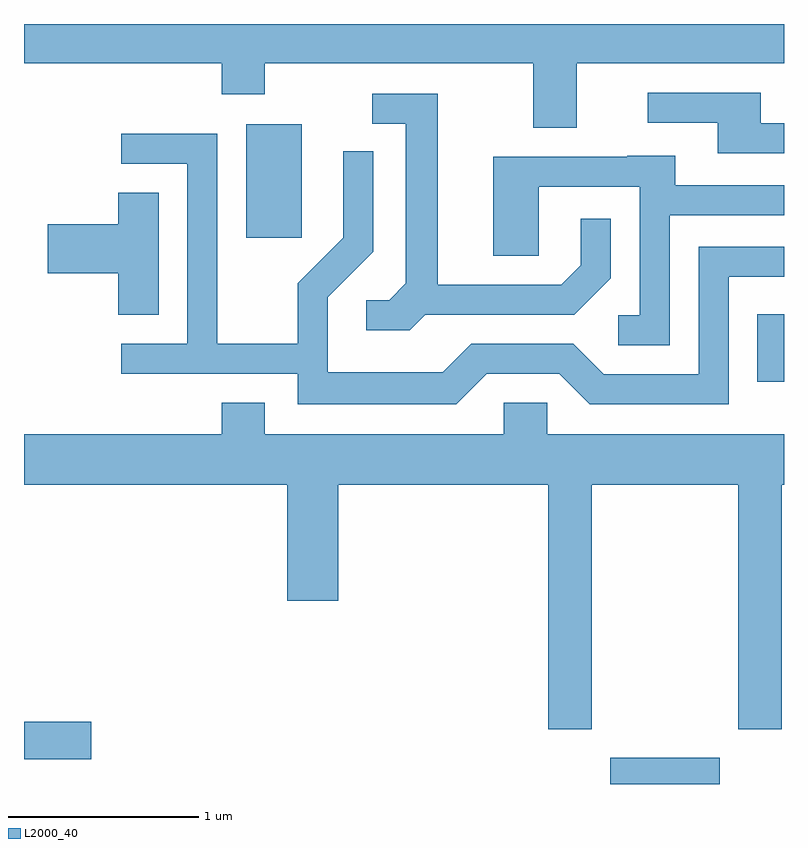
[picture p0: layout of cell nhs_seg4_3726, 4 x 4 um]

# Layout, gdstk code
import gdstk
lib = gdstk.Library(unit=1e-6, precision=1e-09)
def R(c, l, rs):  # rectangles x0, y0, x1, y1
    for r in rs: c.add(gdstk.rectangle(r[:2], r[2:], *l))
def P(c, l, *ps):  # polygons
    for p in ps: c.add(gdstk.Polygon(p, *l))
L2000_40 = (2000, 40)

nhs_seg4_3726 = lib.new_cell('nhs_seg4_3726')
R(nhs_seg4_3726, L2000_40, [(296.696,1361.982,297.274,1362.119), (293.611,1362.111,293.964,1362.309), (297.471,1364.098,297.611,1364.454), (294.781,1364.856,295.074,1365.454)])
P(nhs_seg4_3726, L2000_40, [(293.611,1365.776),(294.651,1365.776),(294.651,1365.611),(294.879,1365.611),(294.879,1365.776),(296.291,1365.776),(296.291,1365.436),(296.519,1365.436),(296.519,1365.776),(297.611,1365.776),(297.611,1365.982),(293.611,1365.982)],
  [(297.611,1365.459),(297.489,1365.459),(297.489,1365.619),(296.893,1365.619),(296.893,1365.461),(297.261,1365.461),(297.261,1365.301),(297.611,1365.301)],
  [(295.722,1364.451),(296.507,1364.451),(296.699,1364.644),(296.699,1364.958),(296.541,1364.958),(296.541,1364.712),(296.439,1364.609),(295.789,1364.609),(295.789,1365.614),(295.443,1365.614),(295.443,1365.456),(295.621,1365.456),(295.621,1364.617),(295.534,1364.529),(295.413,1364.529),(295.413,1364.371),(295.642,1364.371)],
  [(296.047,1364.141),(296.429,1364.141),(296.589,1363.981),(297.319,1363.981),(297.319,1364.651),(297.611,1364.651),(297.611,1364.809),(297.161,1364.809),(297.161,1364.139),(296.662,1364.139),(296.502,1364.299),(295.964,1364.299),(295.814,1364.149),(295.209,1364.149),(295.209,1364.544),(295.449,1364.784),(295.449,1365.313),(295.291,1365.313),(295.291,1364.857),(295.051,1364.617),(295.051,1364.299),(294.629,1364.299),(294.629,1365.404),(294.123,1365.404),(294.123,1365.246),(294.471,1365.246),(294.471,1364.299),(294.123,1364.299),(294.123,1364.141),(295.051,1364.141),(295.051,1363.981),(295.887,1363.981)],
  [(297.009,1364.976),(297.611,1364.976),(297.611,1365.134),(297.039,1365.134),(297.039,1365.289),(296.785,1365.289),(296.785,1365.284),(296.081,1365.284),(296.081,1364.761),(296.319,1364.761),(296.319,1365.126),(296.851,1365.126),(296.851,1364.449),(296.738,1364.449),(296.738,1364.291),(297.009,1364.291)],
  [(294.319,1365.094),(294.106,1365.094),(294.106,1364.929),(293.736,1364.929),(293.736,1364.671),(294.106,1364.671),(294.106,1364.451),(294.319,1364.451)],
  [(296.599,1363.556),(297.371,1363.556),(297.371,1362.271),(297.599,1362.271),(297.599,1363.556),(297.611,1363.556),(297.611,1363.824),(296.364,1363.824),(296.364,1363.989),(296.136,1363.989),(296.136,1363.824),(294.879,1363.824),(294.879,1363.989),(294.651,1363.989),(294.651,1363.824),(293.611,1363.824),(293.611,1363.556),(294.996,1363.556),(294.996,1362.946),(295.264,1362.946),(295.264,1363.556),(296.371,1363.556),(296.371,1362.271),(296.599,1362.271)])

lib.write_gds('nhs_seg4_3726.gds')
